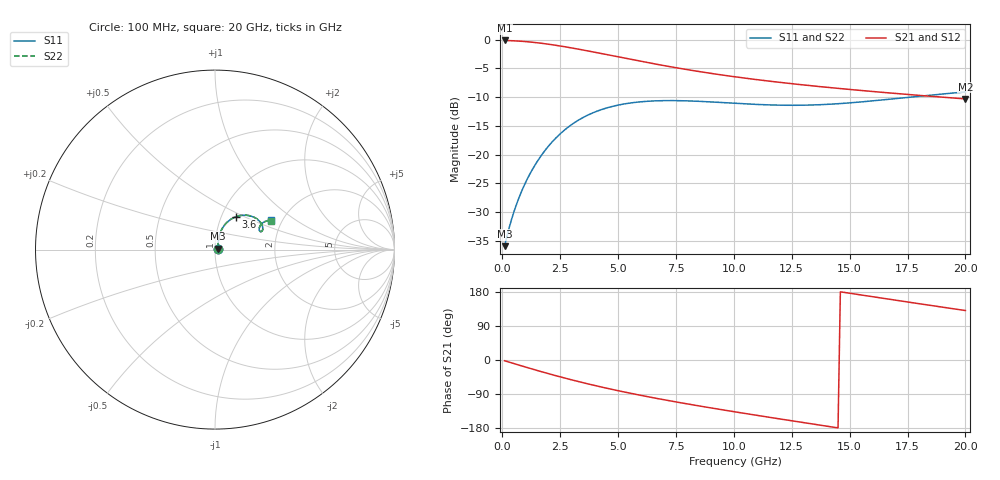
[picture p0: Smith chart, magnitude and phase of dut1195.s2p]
! Touchstone file exported from HFSS 2024.1.0
!  File:  C:/UserFiles/LocalFiles/RDL_TSV_Batchsim/temp_RDL_TSV_1195_1780129064.aedt
!  Generated:  04:34:37 PM May 30, 2026
!  Design:  RDL_TSV
!  Project:  temp_RDL_TSV_1195_1780129064
!  Setup:  Setup1
!  Solution:  Sweep
! Variables:
!  dtsv = 5.81um
!  hbump = 3um
!  htsv = 82.11um
!  ldown = 297.29um
!  lrdl = 608.96um
!  p = 40
!  p1 = 56.99um
!  rhole = 10um
!  subl = 3327.71um
!  t = 450um
!  tdown = 4.05um
!  trdl = 3.84um
!  viad = 10um
!  wdown = 21.06um
!  wrdl = 25.12um
!  xbump = 18um
# GHz S MA R 50.000000
! Terminal data exported
! Port[1] = TM1_1_T1
! Port[2] = TM1_4_T1
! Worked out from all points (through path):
!   200 points, 100 MHz to 20 GHz, reference 50 ohm
!   highest |S21| = -0.13 dB at 100 MHz (marker M1); lowest = -10.3 dB at 20 GHz (marker M2)
!   group delay of S21, straight-line fit = 30.1 ps
!   lowest |S11| = -35.9 dB at 100 MHz (marker M3), VSWR 1.03, Z = 51.5 + j0.626 ohm
!   |S11| at or under -10 dB: start of sweep to 17.56 GHz
!   |S22| runs from -35.9 to -9.1 dB; largest |S21 - S12| = 8.1e-15
!   S11 on the Smith chart (normalised r, x): 100 MHz: 1.03, +0.01; 3.6 GHz: 1.17, +0.45; 20 GHz: 1.75, +0.65
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0.1  0.01603 22.3  0.985 -1.9  0.985 -1.9  0.01603 22.3
! Gamma 0 0 0 0
! Port Impedance 50 0 50 0
0.4  0.02742 52.3  0.9801 -7.6  0.9801 -7.6  0.02742 52.3
0.7  0.04123 64.3  0.973 -13.1  0.973 -13.1  0.04123 64.3
1  0.05706 69.9  0.9632 -18.6  0.9632 -18.6  0.05705 70.0
1.4  0.08059 72.7  0.9461 -25.8  0.9461 -25.8  0.08059 72.7
1.9  0.1126 72.0  0.9194 -34.5  0.9194 -34.5  0.1126 72.1
2.4  0.1455 68.9  0.8884 -42.8  0.8884 -42.8  0.1456 69.0
2.9  0.1771 64.5  0.8547 -50.9  0.8547 -50.9  0.1773 64.6
3.5  0.2112 58.6  0.8127 -60.1  0.8127 -60.1  0.2114 58.7
3.6  0.2164 57.6  0.8056 -61.6  0.8056 -61.6  0.2166 57.7
4.3  0.2475 50.6  0.7566 -71.6  0.7566 -71.6  0.2478 50.7
5.2  0.2749 42.5  0.6967 -83.6  0.6967 -83.6  0.2754 42.6
6  0.2888 36.3  0.6481 -93.5  0.6481 -93.5  0.2893 36.4
6.8  0.2948 31.2  0.6046 -102.8  0.6046 -102.8  0.2955 31.3
8.3  0.2924 24.6  0.5365 -119.1  0.5365 -119.1  0.2932 24.6
10.1  0.2796 21.3  0.4743 -137.3  0.4743 -137.3  0.2805 21.4
11.7  0.2705 22.0  0.4322 -152.8  0.4322 -152.8  0.2714 22.0
13.4  0.2707 24.8  0.3968 -168.9  0.3968 -168.9  0.2715 24.8
15  0.2823 27.6  0.3694 176.2  0.3694 176.2  0.283 27.5
16.7  0.3036 29.3  0.3447 160.5  0.3447 160.5  0.3041 29.2
18.4  0.3287 29.1  0.3233 144.9  0.3233 144.9  0.3291 29.0
20  0.351 27.6  0.3058 130.5  0.3058 130.5  0.3512 27.5
